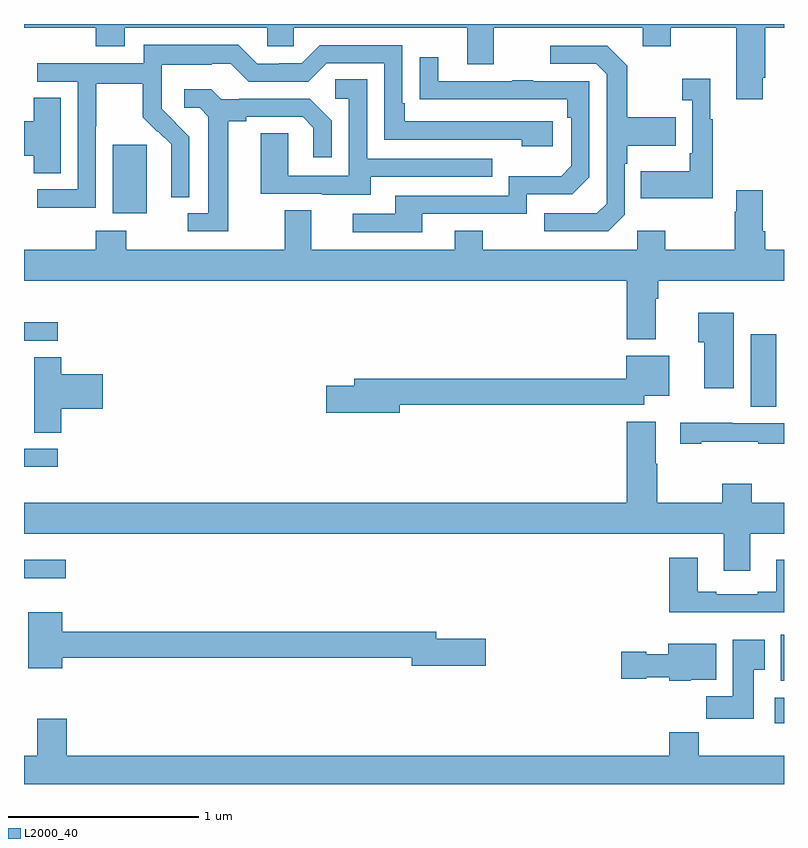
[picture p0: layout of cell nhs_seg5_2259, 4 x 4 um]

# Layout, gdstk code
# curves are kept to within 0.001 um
import gdstk
lib = gdstk.Library(unit=1e-6, precision=1e-09)
def R(c, l, rs):  # rectangles x0, y0, x1, y1
    for r in rs: c.add(gdstk.rectangle(r[:2], r[2:], *l))
def P(c, l, *ps):  # polygons
    for p in ps: c.add(gdstk.Polygon(p, *l))
L2000_40 = (2000, 40)

nhs_seg5_2259 = lib.new_cell('nhs_seg5_2259')
R(nhs_seg5_2259, L2000_40, [(246.951,833.12,247,833.254), (246.983,833.342,247,833.584), (243,833.883,243.22,833.98), (243,834.468,243.178,834.564), (246.824,834.784,246.958,835.165), (243,835.131,243.178,835.23), (243.467,835.802,243.646,836.163)])
P(nhs_seg5_2259, L2000_40, [(246.889,836.515),(246.902,836.515),(246.902,836.78),(247,836.78),(247,836.799),(243,836.799),(243,836.78),(243.377,836.78),(243.377,836.681),(243.529,836.681),(243.529,836.78),(244.281,836.78),(244.281,836.682),(244.419,836.682),(244.419,836.78),(245.333,836.78),(245.333,836.586),(245.473,836.586),(245.473,836.78),(246.257,836.78),(246.257,836.681),(246.405,836.681),(246.405,836.78),(246.749,836.78),(246.749,836.403),(246.889,836.403)],
  [(243.378,836.26),(243.381,836.26),(243.381,836.484),(243.625,836.484),(243.625,836.309),(243.702,836.232),(243.705,836.235),(243.776,836.165),(243.776,836.042),(243.774,836.042),(243.774,835.888),(243.87,835.888),(243.87,836.206),(243.724,836.354),(243.724,836.451),(243.726,836.451),(243.726,836.585),(243.989,836.585),(243.989,836.589),(244.089,836.589),(244.182,836.496),(244.497,836.496),(244.593,836.592),(244.896,836.592),(244.896,836.19),(245.621,836.19),(245.621,836.156),(245.782,836.156),(245.782,836.286),(245.005,836.286),(245.005,836.383),(244.992,836.383),(244.992,836.688),(244.557,836.688),(244.461,836.592),(244.343,836.592),(244.343,836.589),(244.227,836.589),(244.127,836.689),(243.63,836.689),(243.63,836.592),(243.069,836.592),(243.069,836.496),(243.282,836.496),(243.282,835.929),(243.069,835.929),(243.069,835.831),(243.378,835.831)],
  [(246.162,835.794),(246.162,836.063),(246.175,836.063),(246.175,836.159),(246.431,836.159),(246.431,836.307),(246.175,836.307),(246.175,836.579),(246.069,836.685),(245.769,836.685),(245.769,836.589),(246.012,836.589),(246.066,836.535),(246.066,835.854),(246.015,835.803),(245.739,835.803),(245.739,835.707),(246.075,835.707)],
  [(245.095,835.8),(245.646,835.8),(245.646,835.902),(245.886,835.902),(245.976,835.992),(245.976,836.499),(245.681,836.499),(245.681,836.504),(245.569,836.504),(245.569,836.499),(245.179,836.499),(245.179,836.623),(245.083,836.623),(245.083,836.404),(245.86,836.403),(245.86,836.306),(245.88,836.306),(245.88,836.052),(245.827,835.999),(245.55,835.999),(245.55,835.896),(244.955,835.896),(244.955,835.8),(244.731,835.8),(244.731,835.704),(245.095,835.704)],
  [(246.625,836.299),(246.613,836.299),(246.613,836.512),(246.465,836.512),(246.465,836.399),(246.516,836.399),(246.516,836.119),(246.504,836.119),(246.504,836.023),(246.247,836.023),(246.247,835.883),(246.625,835.883)],
  [(244.825,835.995),(245.465,835.995),(245.465,836.091),(244.806,836.091),(244.806,836.507),(244.638,836.507),(244.638,836.406),(244.71,836.406),(244.71,836.001),(244.392,836.001),(244.392,836.225),(244.247,836.225),(244.247,835.905),(244.571,835.905),(244.571,835.901),(244.825,835.901)],
  [(244.075,836.288),(244.171,836.288),(244.171,836.31),(244.466,836.31),(244.523,836.253),(244.523,836.097),(244.62,836.097),(244.62,836.29),(244.504,836.406),(244.132,836.406),(244.132,836.403),(244.038,836.403),(243.986,836.455),(243.843,836.455),(243.843,836.358),(243.924,836.358),(243.971,836.311),(243.971,835.803),(243.861,835.803),(243.861,835.707),(244.075,835.707)],
  [(243.193,836.411),(243.05,836.411),(243.05,836.288),(243,836.288),(243,836.105),(243.05,836.105),(243.05,836.014),(243.193,836.014)],
  [(246.325,835.352),(246.338,835.352),(246.338,835.448),(247,835.448),(247,835.612),(246.902,835.612),(246.902,835.708),(246.889,835.708),(246.889,835.924),(246.749,835.924),(246.749,835.811),(246.742,835.811),(246.742,835.612),(246.375,835.612),(246.375,835.711),(246.228,835.711),(246.228,835.612),(245.415,835.612),(245.415,835.711),(245.267,835.711),(245.267,835.612),(244.513,835.612),(244.513,835.82),(244.373,835.82),(244.373,835.612),(243.537,835.612),(243.537,835.711),(243.377,835.711),(243.377,835.612),(243,835.612),(243,835.448),(246.173,835.448),(246.173,835.139),(246.325,835.139)],
  [(246.736,835.279),(246.548,835.279),(246.548,835.123),(246.581,835.123),(246.581,834.882),(246.736,834.882)],
  [(244.978,834.796),(246.264,834.796),(246.264,834.842),(246.397,834.842),(246.397,835.054),(246.17,835.054),(246.17,834.932),(244.739,834.932),(244.739,834.896),(244.59,834.896),(244.59,834.754),(244.978,834.754)],
  [(243.197,834.773),(243.415,834.773),(243.415,834.956),(243.197,834.956),(243.197,835.046),(243.053,835.046),(243.053,834.649),(243.197,834.649)],
  [(246.823,834.116),(247,834.116),(247,834.28),(246.831,834.28),(246.831,834.379),(246.676,834.379),(246.676,834.28),(246.333,834.28),(246.333,834.485),(246.325,834.485),(246.325,834.706),(246.173,834.706),(246.173,834.28),(243,834.28),(243,834.116),(246.683,834.116),(246.683,833.922),(246.823,833.922)],
  [(246.565,834.601),(246.865,834.601),(246.865,834.591),(247,834.591),(247,834.699),(246.728,834.699),(246.728,834.701),(246.453,834.701),(246.453,834.591),(246.565,834.591)],
  [(247,833.98),(246.959,833.98),(246.959,833.812),(246.863,833.812),(246.863,833.799),(246.643,833.799),(246.643,833.812),(246.547,833.812),(246.547,833.989),(246.395,833.989),(246.395,833.702),(247,833.702)],
  [(243.202,833.464),(245.042,833.464),(245.042,833.422),(245.431,833.422),(245.431,833.564),(245.17,833.564),(245.17,833.6),(243.202,833.6),(243.202,833.704),(243.023,833.704),(243.023,833.408),(243.202,833.408)],
  [(246.841,833.401),(246.898,833.401),(246.898,833.557),(246.731,833.557),(246.731,833.26),(246.592,833.26),(246.592,833.142),(246.841,833.142)],
  [(246.51,833.348),(246.643,833.348),(246.643,833.536),(246.392,833.536),(246.392,833.482),(246.276,833.482),(246.276,833.495),(246.144,833.495),(246.144,833.353),(246.276,833.353),(246.276,833.36),(246.396,833.36),(246.396,833.342),(246.51,833.342)],
  [(247,832.948),(246.551,832.948),(246.551,833.072),(246.395,833.072),(246.395,832.948),(243.224,832.948),(243.224,833.143),(243.071,833.143),(243.071,832.948),(243,832.948),(243,832.799),(247,832.799)])

lib.write_gds('nhs_seg5_2259.gds')
